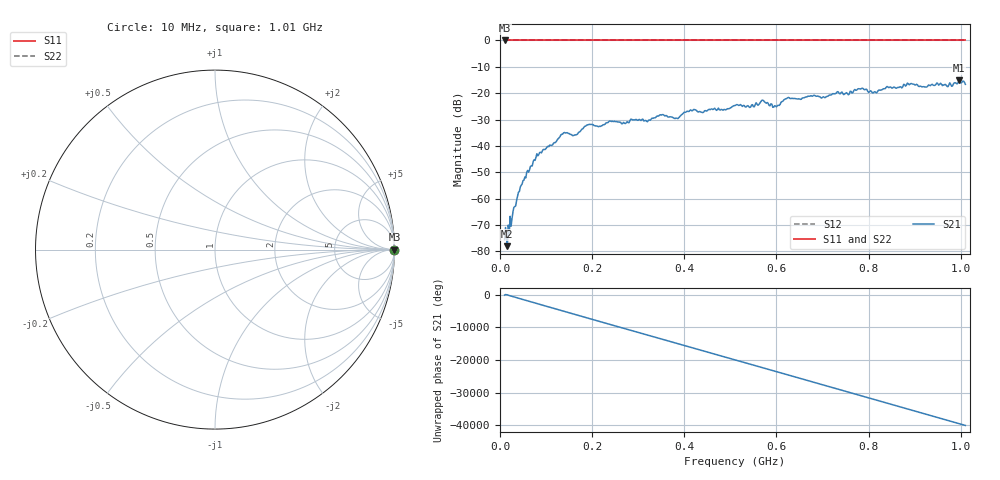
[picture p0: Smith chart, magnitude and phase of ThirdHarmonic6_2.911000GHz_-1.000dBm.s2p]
! 8/17/2025 8:04:27 AM
! C:\ANRITSUVNA\TEMP\TEMP.S2P
! CHANNEL.1
! TR.MEASUREMENT
! RAW.DATA
! RF.CORRECTION.OFF
! AVERAGING.OFF
! IF.BANDWIDTH: 5KHZ
! SWEEPTYPE:  FREQ.SWEEP(Linear)
! Reference Plane Port Info
! PORT:  PORT1  PORT2
! DISTANCE:  0  m  0  m
! TIME:  0  s  0  s
! PHASE.OFFSET:  0  deg.  0  deg.
! LOSS:  0  dB  0  dB
! REF.LOSS:  0  dB  0  dB
! REF.FREQ:  0  Hz  0  Hz
! Power Info
! POWER:  -20  dBm  -20  dBm
! EFF.POWER:  -20  dBm  -20  dBm
! SOURCE.ATTEN:  0  dB  0  dB
! TEST.ATTEN:  0  dB  0  dB
# GHZ S RI R 50.0
! FREQ.GHZ  S11RE  S11IM  S21RE  S21IM  S12RE  S12IM  S22RE  S22IM
!; PortSelection: Port_12
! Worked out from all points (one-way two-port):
!   501 points, 10 MHz to 1.01 GHz, reference 50 ohm
!   highest |S21| = -15.17 dB at 996 MHz (marker M1); lowest = -78.1 dB at 16 MHz (marker M2)
!   lowest |S11| = 0.0 dB at 10 MHz (marker M3)
!   |S11| at or under -10 dB: nowhere
!   |S22| runs from 0.0 to 0.0 dB; largest |S21 - S12| = 1.2
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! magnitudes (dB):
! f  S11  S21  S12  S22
! 10 MHz  0.0  -75.6  0.0  0.0
! 16 MHz  0.0  -78.1  0.0  0.0
! 42 MHz  0.0  -57.4  0.0  0.0
! 76 MHz  0.0  -45.5  0.0  0.0
! 136 MHz  0.0  -35.5  0.0  0.0
! 162 MHz  0.0  -35.9  0.0  0.0
! 178 MHz  0.0  -33.6  0.0  0.0
! 192 MHz  0.0  -31.9  0.0  0.0
! 322 MHz  0.0  -30.3  0.0  0.0
! 344 MHz  0.0  -28.7  0.0  0.0
! 382 MHz  0.0  -29.4  0.0  0.0
! 416 MHz  0.0  -26.7  0.0  0.0
! 510 MHz  0.0  -24.7  0.0  0.0
! 570 MHz  0.0  -22.6  0.0  0.0
! 596 MHz  0.0  -24.8  0.0  0.0
! 624 MHz  0.0  -21.8  0.0  0.0
! 678 MHz  0.0  -21.2  0.0  0.0
! 782 MHz  0.0  -18.4  0.0  0.0
! 814 MHz  0.0  -19.5  0.0  0.0
! 844 MHz  0.0  -17.9  0.0  0.0
! 996 MHz  0.0  -15.2  0.0  0.0
! 1.01 GHz  0.0  -16.6  0.0  0.0
